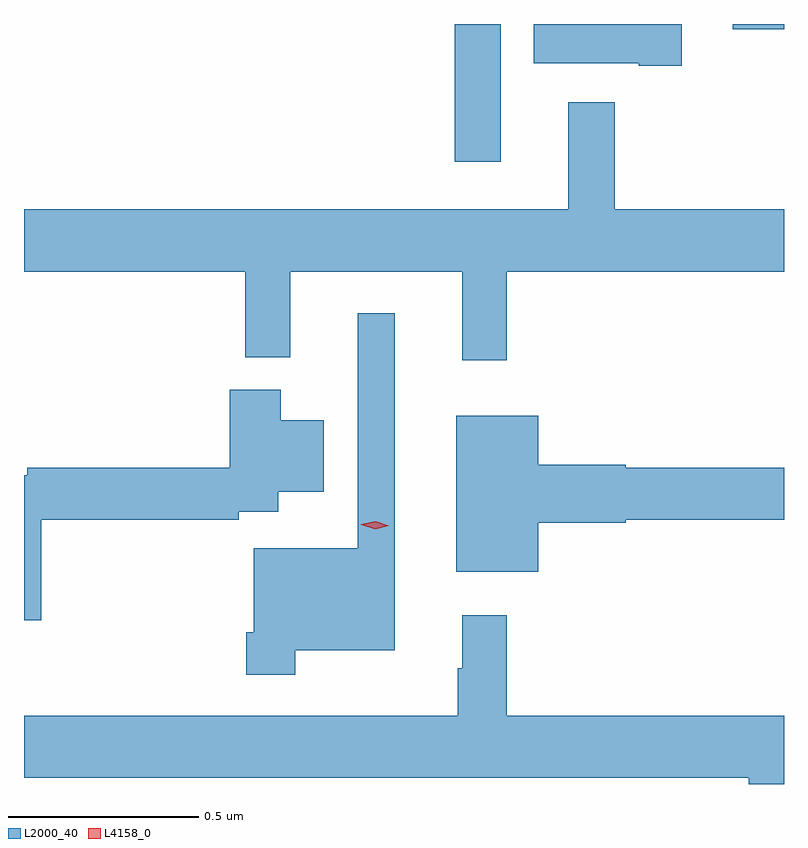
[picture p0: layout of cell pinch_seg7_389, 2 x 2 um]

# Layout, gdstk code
import gdstk
lib = gdstk.Library(unit=1e-6, precision=1e-09)
def R(c, l, rs):  # rectangles x0, y0, x1, y1
    for r in rs: c.add(gdstk.rectangle(r[:2], r[2:], *l))
def P(c, l, *ps):  # polygons
    for p in ps: c.add(gdstk.Polygon(p, *l))
L2000_40 = (2000, 40)
L4158_0 = (4158, 0)

pinch_seg7_389 = lib.new_cell('pinch_seg7_389')
R(pinch_seg7_389, L2000_40, [(490.278,1027.545,490.399,1027.908), (491.01,1027.894,491.145,1027.908)])
P(pinch_seg7_389, L2000_40, [(490.876,1027.908),(490.487,1027.908),(490.487,1027.805),(490.763,1027.805),(490.763,1027.798),(490.876,1027.798)],
  [(490.415,1027.256),(491.145,1027.256),(491.145,1027.42),(490.699,1027.42),(490.699,1027.702),(490.577,1027.702),(490.577,1027.42),(489.145,1027.42),(489.145,1027.256),(489.727,1027.256),(489.727,1027.031),(489.845,1027.031),(489.845,1027.256),(490.298,1027.256),(490.298,1027.023),(490.415,1027.023)],
  [(489.859,1026.26),(490.12,1026.26),(490.12,1027.147),(490.023,1027.147),(490.023,1026.529),(489.75,1026.529),(489.75,1026.307),(489.73,1026.307),(489.73,1026.195),(489.859,1026.195)],
  [(489.191,1026.604),(489.71,1026.604),(489.71,1026.624),(489.814,1026.624),(489.814,1026.677),(489.934,1026.677),(489.934,1026.865),(489.82,1026.865),(489.82,1026.946),(489.686,1026.946),(489.686,1026.74),(489.154,1026.74),(489.154,1026.72),(489.145,1026.72),(489.145,1026.339),(489.191,1026.339)],
  [(490.498,1026.596),(490.728,1026.596),(490.728,1026.604),(491.145,1026.604),(491.145,1026.74),(490.728,1026.74),(490.728,1026.748),(490.498,1026.748),(490.498,1026.877),(490.283,1026.877),(490.283,1026.467),(490.498,1026.467)],
  [(491.145,1026.088),(490.415,1026.088),(490.415,1026.352),(490.298,1026.352),(490.298,1026.212),(490.287,1026.212),(490.287,1026.088),(489.145,1026.088),(489.145,1025.924),(491.052,1025.924),(491.052,1025.908),(491.145,1025.908)])
P(pinch_seg7_389, L4158_0, [(490.069,1026.579),(490.033,1026.59),(490.033,1026.591),(490.033,1026.591),(490.07,1026.599),(490.105,1026.588),(490.105,1026.588),(490.105,1026.588)])

lib.write_gds('pinch_seg7_389.gds')
